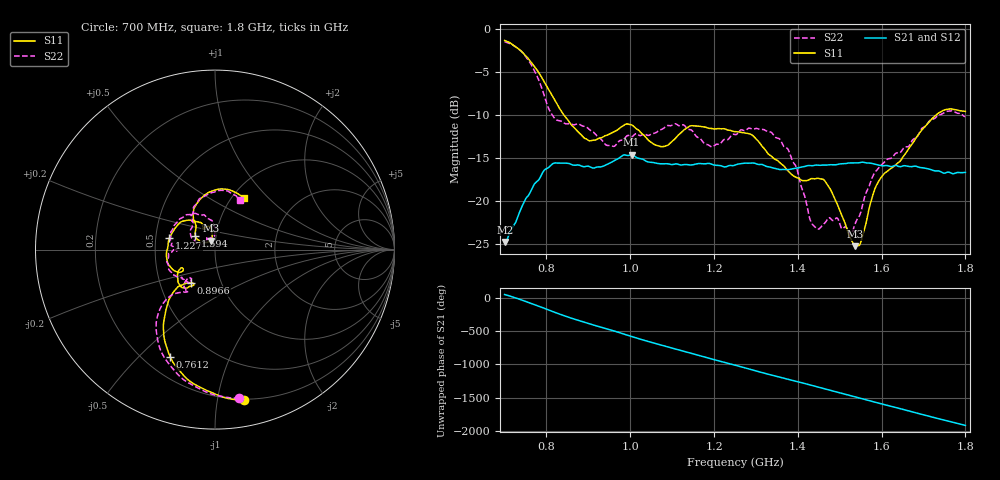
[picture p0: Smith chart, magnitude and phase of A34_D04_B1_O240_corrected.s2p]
! Created with skrf 1.9.0 (http://scikit-rf.org).
# Hz S RI R 50.0
!freq ReS11 ImS11 ReS21 ImS21 ReS12 ImS12 ReS22 ImS22
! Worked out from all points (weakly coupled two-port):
!   1601 points, 700 MHz to 1.8 GHz, reference 50 ohm
!   highest |S21| = -14.62 dB at 1.003 GHz (marker M1); lowest = -24.7 dB at 700.7 MHz (marker M2)
!   lowest |S11| = -25.2 dB at 1.537 GHz (marker M3), VSWR 1.12, Z = 47.5 + j4.72 ohm
!   |S11| at or under -10 dB: 841.4 MHz to 1.73 GHz (888.6 MHz wide, 69.1 % of centre)
!   |S22| runs from -23.9 to -1.5 dB; largest |S21 - S12| = 0.0033
!   S11 on the Smith chart (normalised r, x): 700 MHz: 0.19, -1.19; 761.2 MHz: 0.30, -0.62; 896.6 MHz: 0.72, -0.28; 1.227 GHz: 0.59, +0.08; 1.594 GHz: 0.80, +0.12; 1.8 GHz: 1.14, +0.74
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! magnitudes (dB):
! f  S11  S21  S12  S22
! 700 MHz  -1.4  -24.7  -24.5  -1.5
! 700.7 MHz  -1.4  -24.7  -24.4  -1.5
! 761.2 MHz  -3.8  -19.0  -18.9  -4.0
! 818.2 MHz  -8.1  -15.6  -15.7  -10.3
! 883.6 MHz  -12.3  -15.9  -15.8  -11.2
! 896.6 MHz  -12.8  -15.9  -16.0  -11.4
! 946.8 MHz  -12.3  -15.7  -15.7  -13.5
! 1.003 GHz  -11.2  -14.6  -14.7  -12.5
! 1.067 GHz  -13.6  -15.6  -15.6  -11.8
! 1.145 GHz  -11.3  -15.8  -15.8  -11.7
! 1.227 GHz  -11.6  -16.0  -16.0  -12.8
! 1.25 GHz  -11.9  -15.8  -15.7  -12.3
! 1.357 GHz  -15.5  -16.3  -16.3  -12.8
! 1.396 GHz  -17.2  -16.2  -16.2  -16.0
! 1.434 GHz  -17.4  -15.9  -15.8  -22.6
! 1.471 GHz  -18.1  -15.8  -15.8  -22.0
! 1.537 GHz  -25.2  -15.6  -15.6  -22.6
! 1.551 GHz  -24.6  -15.5  -15.5  -21.1
! 1.594 GHz  -17.6  -15.8  -15.8  -16.1
! 1.617 GHz  -16.4  -15.9  -15.9  -15.1
! 1.732 GHz  -9.9  -16.5  -16.5  -10.2
! 1.8 GHz  -9.6  -16.7  -16.6  -10.2
